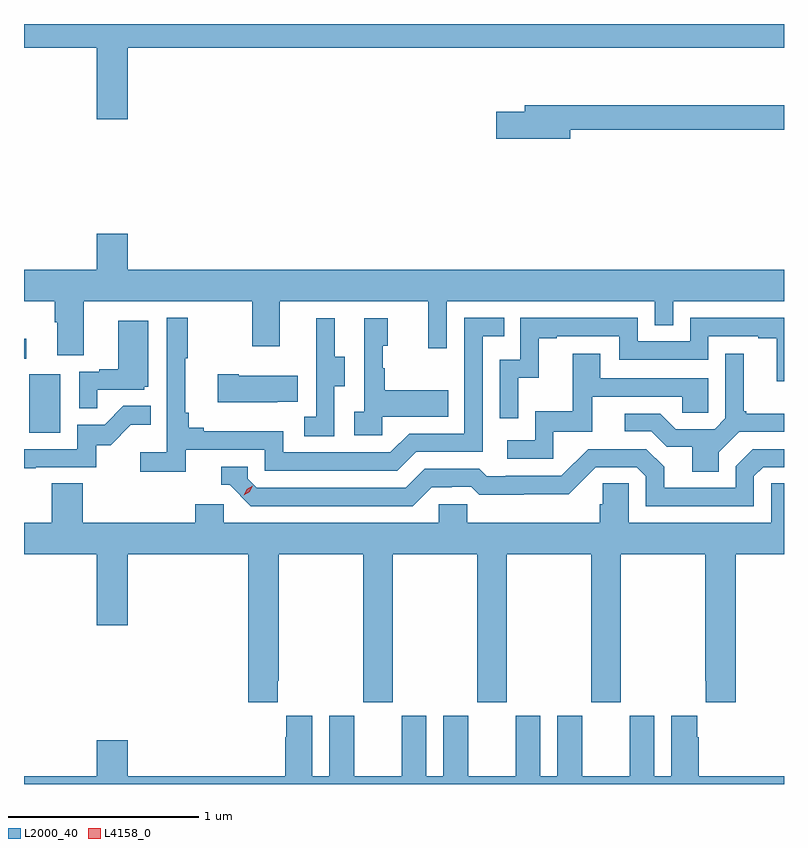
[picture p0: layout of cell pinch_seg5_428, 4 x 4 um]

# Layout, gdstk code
import gdstk
lib = gdstk.Library(unit=1e-6, precision=1e-09)
def R(c, l, rs):  # rectangles x0, y0, x1, y1
    for r in rs: c.add(gdstk.rectangle(r[:2], r[2:], *l))
def P(c, l, *ps):  # polygons
    for p in ps: c.add(gdstk.Polygon(p, *l))
L2000_40 = (2000, 40)
L4158_0 = (4158, 0)

pinch_seg5_428 = lib.new_cell('pinch_seg5_428')
R(pinch_seg5_428, L2000_40, [(919.898,869.388,920.062,869.695), (919.87,869.775,919.882,869.881)])
P(pinch_seg5_428, L2000_40, [(920.416,871.412),(923.87,871.412),(923.87,871.538),(919.87,871.538),(919.87,871.412),(920.252,871.412),(920.252,871.038),(920.416,871.038)],
  [(922.744,870.982),(923.87,870.982),(923.87,871.111),(922.505,871.111),(922.505,871.077),(922.356,871.077),(922.356,870.935),(922.744,870.935)],
  [(920.416,870.433),(920.252,870.433),(920.252,870.244),(919.87,870.244),(919.87,870.08),(920.033,870.08),(920.033,869.968),(920.045,869.968),(920.045,869.794),(920.185,869.794),(920.185,870.08),(921.07,870.08),(921.07,869.841),(921.217,869.841),(921.217,870.08),(921.998,870.08),(921.998,869.832),(922.095,869.832),(922.095,870.08),(923.19,870.08),(923.19,869.953),(923.286,869.953),(923.286,870.08),(923.87,870.08),(923.87,870.244),(920.416,870.244)],
  [(920.72,869.298),(921.138,869.298),(921.138,869.187),(921.835,869.187),(921.934,869.286),(922.284,869.286),(922.284,869.895),(922.397,869.895),(922.397,869.991),(922.188,869.991),(922.188,869.382),(921.897,869.382),(921.798,869.283),(921.234,869.283),(921.234,869.395),(920.815,869.395),(920.815,869.414),(920.738,869.414),(920.738,869.491),(920.719,869.491),(920.719,869.779),(920.731,869.779),(920.731,869.992),(920.622,869.992),(920.622,869.284),(920.481,869.284),(920.481,869.182),(920.72,869.182)],
  [(922.47,869.675),(922.58,869.675),(922.58,869.883),(922.675,869.883),(922.675,869.895),(923.004,869.895),(923.004,869.772),(923.472,869.772),(923.472,869.895),(923.735,869.895),(923.735,869.883),(923.831,869.883),(923.831,869.657),(923.87,869.657),(923.87,869.991),(923.376,869.991),(923.376,869.868),(923.1,869.868),(923.1,869.991),(922.482,869.991),(922.482,869.772),(922.374,869.772),(922.374,869.463),(922.47,869.463)],
  [(921.504,869.632),(921.559,869.632),(921.559,869.787),(921.505,869.787),(921.505,869.989),(921.407,869.989),(921.407,869.775),(921.408,869.775),(921.408,869.471),(921.345,869.471),(921.345,869.368),(921.504,869.368)],
  [(921.756,869.471),(922.103,869.471),(922.103,869.611),(921.769,869.611),(921.769,869.726),(921.759,869.726),(921.759,869.844),(921.784,869.844),(921.784,869.989),(921.66,869.989),(921.66,869.498),(921.609,869.498),(921.609,869.373),(921.756,869.373)],
  [(920.255,869.613),(920.502,869.613),(920.502,869.628),(920.524,869.628),(920.524,869.977),(920.366,869.977),(920.366,869.722),(920.267,869.722),(920.267,869.709),(920.16,869.709),(920.16,869.515),(920.255,869.515)],
  [(923.527,869.284),(923.634,869.391),(923.87,869.391),(923.87,869.488),(923.671,869.488),(923.671,869.5),(923.659,869.5),(923.659,869.803),(923.562,869.803),(923.562,869.463),(923.505,869.406),(923.299,869.406),(923.218,869.487),(923.031,869.487),(923.031,869.394),(923.172,869.394),(923.252,869.314),(923.387,869.314),(923.387,869.182),(923.527,869.182)],
  [(922.656,869.391),(922.861,869.391),(922.861,869.577),(923.335,869.577),(923.335,869.493),(923.472,869.493),(923.472,869.673),(922.903,869.673),(922.903,869.803),(922.759,869.803),(922.759,869.5),(922.56,869.5),(922.56,869.346),(922.413,869.346),(922.413,869.25),(922.656,869.25)],
  [(921.203,869.549),(921.311,869.549),(921.311,869.686),(921.001,869.686),(921.001,869.694),(920.889,869.694),(920.889,869.546),(921.203,869.546)],
  [(919.931,869.205),(920.25,869.205),(920.25,869.322),(920.326,869.322),(920.433,869.429),(920.537,869.429),(920.537,869.528),(920.393,869.528),(920.295,869.43),(920.151,869.43),(920.151,869.301),(919.87,869.301),(919.87,869.2),(919.931,869.2)],
  [(922.015,869.1),(922.122,869.1),(922.122,869.103),(922.225,869.103),(922.267,869.061),(922.5,869.061),(922.5,869.063),(922.736,869.063),(922.878,869.205),(923.094,869.205),(923.142,869.157),(923.142,869.001),(923.712,869.001),(923.712,869.157),(923.76,869.205),(923.87,869.205),(923.87,869.301),(923.706,869.301),(923.616,869.211),(923.616,869.097),(923.239,869.097),(923.239,869.207),(923.145,869.301),(922.839,869.301),(922.698,869.16),(922.405,869.16),(922.405,869.157),(922.306,869.157),(922.267,869.196),(921.978,869.196),(921.879,869.097),(921.096,869.097),(921.048,869.145),(921.048,869.208),(920.909,869.208),(920.909,869.112),(920.952,869.112),(921.063,869.001),(921.916,869.001)],
  [(921.205,868.081),(921.21,868.081),(921.21,868.748),(921.655,868.748),(921.655,867.969),(921.81,867.969),(921.81,868.748),(922.255,868.748),(922.255,867.969),(922.41,867.969),(922.41,868.748),(922.855,868.748),(922.855,867.969),(923.01,867.969),(923.01,868.748),(923.455,868.748),(923.455,868.081),(923.459,868.081),(923.459,867.969),(923.615,867.969),(923.615,868.748),(923.87,868.748),(923.87,869.12),(923.802,869.12),(923.802,868.912),(923.052,868.912),(923.052,869.12),(922.915,869.12),(922.915,869.01),(922.901,869.01),(922.901,868.912),(922.203,868.912),(922.203,869.01),(922.053,869.01),(922.053,868.912),(920.922,868.912),(920.922,869.01),(920.771,869.01),(920.771,868.912),(920.18,868.912),(920.18,869.12),(920.015,869.12),(920.015,868.912),(919.87,868.912),(919.87,868.748),(920.252,868.748),(920.252,868.374),(920.416,868.374),(920.416,868.748),(921.05,868.748),(921.05,867.969),(921.205,867.969)],
  [(923.87,867.58),(923.42,867.58),(923.42,867.785),(923.413,867.785),(923.413,867.898),(923.276,867.898),(923.276,867.58),(923.188,867.58),(923.188,867.898),(923.057,867.898),(923.057,867.58),(922.807,867.58),(922.807,867.898),(922.676,867.898),(922.676,867.58),(922.588,867.58),(922.588,867.898),(922.457,867.898),(922.457,867.58),(922.207,867.58),(922.207,867.898),(922.076,867.898),(922.076,867.58),(921.988,867.58),(921.988,867.898),(921.857,867.898),(921.857,867.58),(921.607,867.58),(921.607,867.898),(921.476,867.898),(921.476,867.58),(921.388,867.58),(921.388,867.898),(921.251,867.898),(921.251,867.785),(921.245,867.785),(921.245,867.58),(920.416,867.58),(920.416,867.769),(920.252,867.769),(920.252,867.58),(919.87,867.58),(919.87,867.538),(923.87,867.538)])
P(pinch_seg5_428, L4158_0, [(921.027,869.057),(921.027,869.057),(921.043,869.09),(921.074,869.109),(921.074,869.109),(921.074,869.109),(921.058,869.076),(921.027,869.057)])

lib.write_gds('pinch_seg5_428.gds')
